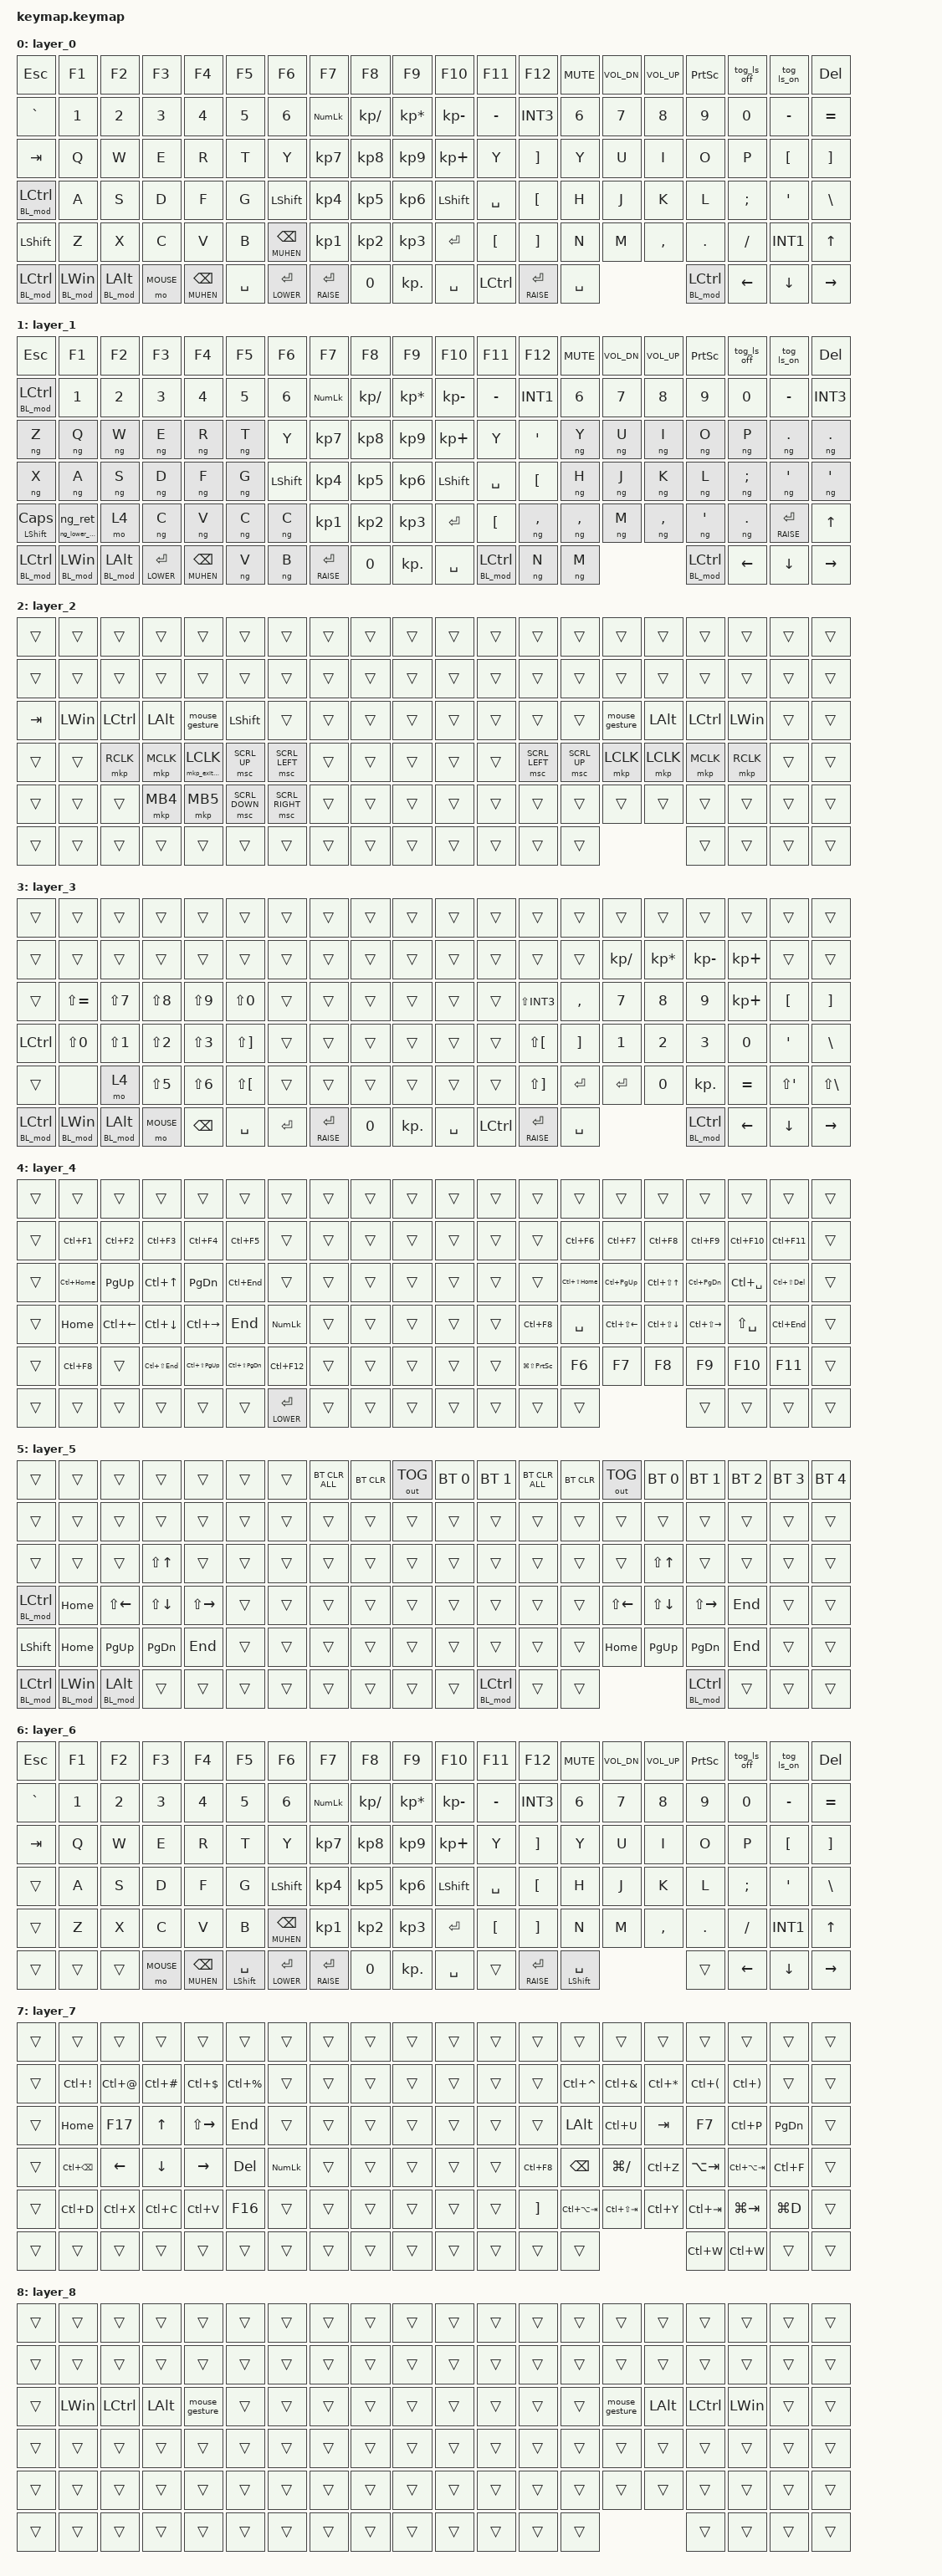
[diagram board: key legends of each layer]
//#include <dt-bindings/zmk/mouse.h>

//#include <behaviors/rgbled_widget.dtsi>
#include <behaviors.dtsi>
#include <dt-bindings/zmk/bt.h>
#include <dt-bindings/zmk/keys.h>
#include <dt-bindings/zmk/outputs.h>
#include <dt-bindings/zmk/pointing.h>
#include <behaviors/naginata.dtsi>

#include <input/processors.dtsi>
#include <dt-bindings/zmk/input_transform.h>

#include <mouse-gesture.dtsi>

#define BASE     0
#define NAGINATA 1
#define MOUSE    2
#define LOWER    3
#define RAISE    4
#define ADJUST   5
#define MOD      6
#define SCROLL   3
#define MUHEN   7
#define GESTURE  8



&zip_mouse_gesture {
    stroke-size = <130>;
    idle-timeout-ms = <70>;
    gesture-cooldown-ms = <60>;
    enable-eager-mode;
    suppress-movement;

    next {
        pattern = <GESTURE_RIGHT>;
        bindings = <&kp TAB>;
    };

    prev {
        pattern = <GESTURE_LEFT>;
        bindings = <&kp LS(TAB)>;
    };

    decide {
        pattern = <GESTURE_UP>;
        bindings = <&kp UP>;
    };

    cancel {
        pattern = <GESTURE_DOWN>;
        bindings = <&kp DOWN>;
    };
};


/ {
    conditional_layers {
        compatible = "zmk,conditional-layers";

        tri_layer {
            if-layers = <3 4>;
            then-layer = <5>;
        };
    };
};

#define COMBO2(name, p1, p2, out, layer) \
    name { \
        timeout-ms = <50>; \
        key-positions = <p1 p2>; \
        bindings = <out>; \
        layers = <layer>; \
    }

/ {
    behaviors {
        // スクロール用のbehaviorの設定
        scroll_down_up: behavior_sensor_rotate_mouse_wheel_down_up {
            compatible = "zmk,behavior-sensor-rotate";
            #sensor-binding-cells = <0>;
            bindings = <&msc SCRL_DOWN>, <&msc SCRL_UP>;
            tap-ms = <20>; // スクロールのタップ時間
        };

        // Customed Hold-Tap for SandS
        // 他キーとの同時押しのみHold(Shift), 500m以上長押しすると、Tap(Space)のリピート
        SandS: SandS {
            compatible = "zmk,behavior-hold-tap";
            #binding-cells = <2>;
            flavor = "tap-unless-interrupted";
            tapping-term-ms = <500>; // tap-unless-interruptedのため意味は無いが、設定しないとエラーはく
            quick-tap-ms = <500>;
            bindings = <&kp>, <&kp>;

            display-name = "SandS";
		};


        /*
         * 短押し：ng_ret（RET）
         * 長押し：ng_lower_hold
         */
        ng_lower: ng_lower {
            compatible = "zmk,behavior-hold-tap";
            #binding-cells = <2>;

            flavor = "hold-preferred";
            tapping-term-ms = <80>;

            /*
             * 1番目がHold、2番目がTap
             * この環境では1つの <> 内に並べる
             */
            bindings = <&ng_lower_hold &ng_ret>;
		};



	    //CAP_NGON_CTRL: cap_ng_on_ctrl {
	      //compatible = "zmk,behavior-hold-tap";
	      //#binding-cells = <0>;
	      //// お好みで調整
	      //tapping-term-ms = <200>;
	      //quick-tap-ms    = <125>;
	      //flavor = "balanced"; // "tap-preferred" / "hold-preferred" も可
	
	      //// bindings は <タップ時, ホールド時>
	      ////bindings = <&cap_ng_on &kp LCTRL>;
		//};

	    //CAP_NGOFF_CTRL: cap_ng_off_ctrl {
	      //compatible = "zmk,behavior-hold-tap";
	      //#binding-cells = <0>;
	      //// お好みで調整
	      //tapping-term-ms = <200>;
	      //quick-tap-ms    = <125>;
	      //flavor = "balanced"; // "tap-preferred" / "hold-preferred" も可
	
	      //// bindings は <タップ時, ホールド時>
	      ////bindings = <&cap_ng_off &kp LCTRL>;
        //};
    };
};

&sl { release-after-ms = <250>; }; // time needed for double click (for mkp_exit_AML)
/ {
    macros {
        // When in AML, move to default layer when key (except mouse button) pressed
        to_layer_0: to_layer_0 {
            compatible = "zmk,behavior-macro-one-param";
            #binding-cells = <1>;
            bindings = <&tog MOUSE &macro_param_1to1 &kp MACRO_PLACEHOLDER>;
            label = "TO_layer_0";
        };

        // When LCLK pressed, exit AML (after 250ms cause by sticky layer)
        mkp_exit_AML: mkp_exit_AML {
            compatible = "zmk,behavior-macro-one-param";
            #binding-cells = <1>;
            bindings =
                <&macro_press>,
                <&macro_param_1to1 &mkp MACRO_PLACEHOLDER>,
                <&macro_pause_for_release>,
                <&macro_release>,
                <&macro_param_1to1 &mkp MACRO_PLACEHOLDER>,
                <&macro_tap>,
                <&sl MOUSE>;

            label = "MKP_EXIT_AML";
        };

        // Support swapping into Scroll layer when AML is activated

        to_scroll_layer: to_scroll_layer {
            compatible = "zmk,behavior-macro";
            #binding-cells = <0>;
            bindings =
                <&to SCROLL>,
                <&macro_press>,
                <&mo SCROLL>,
                <&macro_pause_for_release>,
                <&macro_release>,
                <&mo SCROLL>;
        };



        /* ng_lowerの短押し側 */
        ng_ret: ng_ret {
            compatible = "zmk,behavior-macro";
            #binding-cells = <0>;
            wait-ms = <0>;
            tap-ms = <30>;

            bindings = <&macro_tap &kp RET>;
        };

        /* NAGINATA → LOWERの長押し側 */
        ng_lower_hold: ng_lower_hold {
            compatible = "zmk,behavior-macro";
            #binding-cells = <0>;
            wait-ms = <30>;
            tap-ms = <30>;

            bindings =
                <&macro_tap &kp LANG2>,
                <&macro_press &mo LOWER>,
                <&macro_pause_for_release>,
                <&macro_release &mo LOWER>,
                <&macro_tap &kp LANG1>;
        };


	    //cap_ng_on: cap_ng_on {
	      //compatible = "zmk,behavior-macro";
	      //#binding-cells = <0>;
	      //bindings = <&kp LANG1 &to NAGINATA>;
        //};

	    //cap_ng_off: cap_ng_off {
	      //compatible = "zmk,behavior-macro";
	      //#binding-cells = <0>;
	      //bindings = <&kp LANG2 &to BASE>;
        //};

        BL_mod: BL_mod {
            compatible = "zmk,behavior-macro-one-param";
            #binding-cells = <1>;
            bindings =
                <&macro_press>,
                <&mo MOD &macro_param_1to1>,
                <&macro_press>,
                <&kp MACRO_PLACEHOLDER>,
                <&macro_pause_for_release>,
                <&macro_param_1to1>,
                <&macro_release>,
                <&kp MACRO_PLACEHOLDER>,
                <&macro_release>,
                <&mo MOD>;
        };

        ng_on: ng_on {
            compatible = "zmk,behavior-macro";
            #binding-cells = <0>;
            bindings = <&macro_tap &kp LANG1 &to NAGINATA>;
            //bindings = <&macro_tap &kp CAPS &to NAGINATA>;
        };
    
        ng_off: ng_off {
            compatible = "zmk,behavior-macro";
            #binding-cells = <0>;
            bindings = <&macro_tap &kp LANG2 &to BASE>;
            //bindings = <&macro_tap &kp CAPS &to BASE>;
        };
    };

	combos {
		compatible = "zmk,combos";
		combo_ng_on {
			timeout-ms = <300>;
			key-positions = <74 96>;
			bindings = <&ng_on>;
			layers = <0 1>;
		};
	
		combo_ng_off {
			timeout-ms = <300>;
			key-positions = <82 64>; //62 64
			bindings = <&ng_off>;
			layers = <0 1>;
    	};

		//COMBO2(qz_to_a, 41, 61, &kp A, BASE);
		//COMBO2(wx_to_s, 42, 62, &kp S, BASE);
		//COMBO2(ec_to_d, 43, 63, &kp D, BASE);
		//COMBO2(rv_to_f, 44, 64, &kp F, BASE);
		//COMBO2(tb_to_g, 45, 65, &kp G, BASE);
		//COMBO2(lbkt_to_LBKT, 52, 72, &kp LBKT, BASE);
		//COMBO2(yn_to_h, 53, 73, &kp H, BASE);
		//COMBO2(tb_to_j, 54, 74, &kp J, BASE);
		//COMBO2(tb_to_k, 55, 75, &kp K, BASE);
		//COMBO2(tb_to_l, 56, 76, &kp L, BASE);
		//COMBO2(tb_to_semi, 57, 77, &kp SEMI, BASE);
		//COMBO2(tb_to_sqt, 58, 78, &kp SQT, BASE);
		//COMBO2(tb_to_BSLH, 59, 79, &kp BACKSLASH, BASE);
		COMBO2(ls_tos_lsMin, 41, 61, &kp LS(MINUS), LOWER);
		COMBO2(n4_tos_lsN4, 42, 62, &kp LS(N4), LOWER);
		COMBO2(n5_tos_lsN5, 43, 63, &kp LS(N5), LOWER);
		COMBO2(n6_tos_lsN6, 44, 64, &kp LS(N6), LOWER);
		COMBO2(nlbktn_tos_nlslbktn, 45, 65, &kp LS(LBKT), LOWER);
		COMBO2(lsrbkt_to_lsrbkt, 52, 72, &kp LS(RBKT), LOWER);
		COMBO2(nret_to_ret, 53, 73, &kp RET, LOWER);
		COMBO2(n71_to_4, 54, 74, &kp N4, LOWER);
		COMBO2(n82_to_5, 55,75, &kp N5, LOWER);
		COMBO2(n93_to_6, 56,76, &kp N6, LOWER);
		COMBO2(equa_to_equa, 57,77, &kp EQUAL, LOWER);
		COMBO2(ls_to_lssqt, 58, 78, &kp LS(SQT), LOWER);
		COMBO2(bslh_to_lsBSLH, 59, 79, &kp LS(BACKSLASH), LOWER);

//LS(N0)  &kp LS(N1) &kp LS(N2) &kp LS(N3)  &kp LS(RBKT)
//&kp LS(LBKT) &kp N0  &kp N1 &kp N2 &kp N3  &kp DOT &kp LS(SLASH) &trans


    };
};

//#include <layout_shift_kp_override.dtsi>
// Layout Shift Overlay - Replaces &kp behavior with custom implementation
// This file should be included in keyboard config to override &kp behavior

#include "layout_shift.dtsi"

/ {
    behaviors {
        // Keep the original key_press behavior for ZMK core components
        original_key_press: original_key_press {
            compatible = "zmk,behavior-key-press";
            #binding-cells = <1>;
            label = "KEY_PRESS";
        };

        // Override the existing &kp behavior to use our custom implementation
        kp: key_press {
            compatible = "zmk,behavior-layout-shift-key-press";
            #binding-cells = <1>;
            label = "LAYOUT_SHIFT_KEY_PRESS";
        };
    };
};





/ {
    keymap {
        compatible = "zmk,keymap";
//BASE
        layer_0 {
            bindings =<
                &kp ESC         &kp F1 &kp F2 &kp F3 &kp F4 &kp F5  &kp F6 &kp F7 &kp F8 &kp F9 &kp F10 &kp F11                                      &kp F12 &kp C_MUTE &kp C_VOL_DN &kp C_VOL_UP &kp PSCRN &tog_ls_off &tog_ls_on &kp DEL
				&kp GRAVE       &kp N1 &kp N2 &kp N3 &kp N4 &kp N5  &kp N6 &kp KP_NUM &kp KP_SLASH &kp KP_MULTIPLY &kp KP_MINUS &kp MINUS                         &kp INT3 &kp N6 &kp N7 &kp N8 &kp N9 &kp N0 &kp MINUS &kp EQUAL
				&kp TAB         &kp Q &kp W  &kp E  &kp R  &kp T    &kp Y &kp KP_N7 &kp KP_N8 &kp KP_N9 &kp KP_PLUS  &kp Y                                        &kp RBKT &kp Y &kp U &kp I &kp O &kp P &kp LBKT &kp RBKT
				&BL_mod LCTRL   &kp A &kp S  &kp D  &kp F &kp G     &kp LSHFT  &kp KP_N4 &kp KP_N5 &kp KP_N6 &kp LSHFT  &kp SPACE                                 &kp LBKT &kp H &kp J &kp K &kp L &kp SEMI  &kp SQT &kp BACKSLASH
				&kp LSHFT       &kp Z &kp X  &kp C  &kp V &kp B     &lt MUHEN BSPC &kp KP_N1 &kp KP_N2 &kp KP_N3  &kp RET &kp LBKT                                &kp RBKT &kp N &kp M &kp COMMA &kp DOT &kp FSLH &kp INT1 &kp UP
				&BL_mod LCTRL   &BL_mod LWIN &BL_mod LALT &mo MOUSE &lt MUHEN BSPC &kp SPACE &lt LOWER RET &lt RAISE RET &kp N0 &kp KP_DOT &kp SPACE &kp LCTRL               &lt RAISE RET &kp SPACE           &BL_mod LCTRL  &kp LEFT &kp DOWN &kp RIGHT
            >;
        };
//NAGINATA
        layer_1 {
            bindings =<
                &kp ESC         &kp F1 &kp F2 &kp F3 &kp F4 &kp F5  &kp F6 &kp F7 &kp F8 &kp F9 &kp F10 &kp F11                                      &kp F12 &kp C_MUTE &kp C_VOL_DN &kp C_VOL_UP &kp PSCRN &tog_ls_off &tog_ls_on &kp DEL
				&BL_mod LCTRL   &kp N1 &kp N2 &kp N3 &kp N4 &kp N5  &kp N6 &kp KP_NUM &kp KP_SLASH &kp KP_MULTIPLY &kp KP_MINUS &kp MINUS                                     &kp INT1 &kp N6 &kp N7 &kp N8 &kp N9 &kp N0 &kp MINUS &kp INT3
				&ng Z           &ng Q  &ng W  &ng E  &ng R &ng T    &kp Y &kp KP_N7 &kp KP_N8 &kp KP_N9 &kp KP_PLUS  &kp Y                                          &kp APOS &ng Y &ng U &ng I &ng O &ng P &ng DOT &ng DOT
				&ng X           &ng A  &ng S  &ng D  &ng F &ng G    &kp LSHFT  &kp KP_N4 &kp KP_N5 &kp KP_N6 &kp LSHFT  &kp SPACE                                         &kp LBKT &ng H &ng J &ng K &ng L &ng SEMI &ng SQT &ng SQT 
				&mt LSHFT CAPS  &ng_lower 0 0 &mo 4  &ng C  &ng V &ng C    &ng C   &kp KP_N1 &kp KP_N2 &kp KP_N3  &kp RET &kp LBKT                     &ng COMMA &ng COMMA &ng M &ng COMMA &ng SQT &ng DOT &lt RAISE RET &kp UP
				&BL_mod LCTRL   &BL_mod LWIN &BL_mod LALT &lt LOWER RET &lt MUHEN BSPC &ng V          &ng B &lt RAISE RET &kp N0 &kp KP_DOT &kp SPACE &BL_mod LCTRL   &ng N  &ng M           &BL_mod LCTRL  &kp LEFT &kp DOWN &kp RIGHT
            >;
        };
//Mouse
        layer_2 {
            bindings =<
                &trans &trans &trans &trans &trans &trans &trans &trans &trans &trans &trans &trans               &trans &trans &trans &trans &trans &trans &trans &trans
				&trans &trans &trans &trans &trans &trans &trans &trans &trans &trans &trans &trans               &trans &trans &trans &trans &trans &trans &trans &trans
				&kp TAB &kp LWIN &kp LCTRL &kp LALT &mouse_gesture &kp LSHFT &trans &trans &trans &trans &trans &trans   &trans &trans &mouse_gesture &kp LALT &kp LCTRL &kp LWIN &trans &trans
				&trans &trans &mkp RCLK &mkp MCLK &mkp_exit_AML LCLK &msc SCRL_UP    &msc SCRL_LEFT &trans &trans &trans &trans &trans      &msc SCRL_LEFT   &msc SCRL_UP    &mkp LCLK &mkp LCLK  &mkp MCLK       &mkp RCLK &trans &trans
				&trans &trans &trans &mkp MB4 &mkp MB5 &msc SCRL_DOWN  &msc SCRL_RIGHT &trans &trans &trans &trans &trans               &trans &trans &trans &trans &trans &trans &trans &trans
				&trans &trans &trans &trans &trans &trans &trans &trans &trans &trans &trans &trans               &trans &trans               &trans &trans &trans &trans
            >;
        };
//LOWER
        layer_3 {
            bindings =<
                &trans &trans &trans &trans &trans &trans &trans &trans &trans &trans &trans &trans               &trans &trans &trans &trans &trans &trans &trans &trans
				&trans &trans &trans &trans &trans &trans &trans &trans &trans &trans &trans &trans               &trans &trans &kp KP_SLASH &kp KP_MULTIPLY &kp KP_MINUS  &kp KP_PLUS &trans &trans
				&trans &kp LS(EQUAL)  &kp LS(N7) &kp LS(N8) &kp LS(N9)  &kp LS(N0) &trans &trans &trans &trans &trans &trans               &kp LS(INT3) &kp COMMA &kp N7 &kp N8 &kp N9  &kp KP_PLUS &kp LBKT &kp RBKT
				&kp LCTRL &kp LS(N0)  &kp LS(N1) &kp LS(N2) &kp LS(N3)  &kp LS(RBKT) &trans &trans &trans &trans &trans &trans               &kp LS(LBKT) &kp RBKT  &kp N1 &kp N2 &kp N3  &kp N0 &kp SQT &kp BACKSLASH
				&trans &none      &mo 4 &kp LS(N5) &kp LS(N6)  &kp LS(LBKT) &trans &trans &trans &trans &trans &trans               &kp LS(RBKT) &kp RET &kp RET  &kp N0 &kp KP_DOT &kp EQUAL &kp LS(SQT) &kp LS(BACKSLASH)
				&BL_mod LCTRL   &BL_mod LWIN &BL_mod LALT &mo MOUSE &kp BSPC &kp SPACE &kp RET &lt RAISE RET &kp N0 &kp KP_DOT &kp SPACE &kp LCTRL               &lt RAISE RET &kp SPACE           &BL_mod LCTRL  &kp LEFT &kp DOWN &kp RIGHT
            >;
        };
//RAISE
        layer_4 {
            bindings =<
                &trans &trans &trans &trans &trans &trans &trans &trans &trans &trans &trans &trans               &trans &trans &trans &trans &trans &trans &trans &trans
				&trans &kp LC(F1)   &kp LC(F2)   &kp LC(F3)   &kp LC(F4)     &kp LC(F5) &trans &trans &trans &trans &trans &trans               &trans &kp LC(F6)       &kp LC(F7)       &kp LC(F8)       &kp LC(F9)        &kp LC(F10)   &kp LC(F11)     &trans
				&trans &kp LC(HOME) &kp PG_UP    &kp LC(UP)   &kp PG_DN      &kp LC(END) &trans &trans &trans &trans &trans &trans               &trans &kp LC(LS(HOME)) &kp LC(PG_UP)    &kp LC(LS(UP))   &kp LC(PG_DN)     &kp LC(SPACE) &kp LC(LS(DEL))  &trans 
				&trans &kp HOME     &kp LC(LEFT) &kp LC(DOWN) &kp LC(RIGHT)  &kp END &kp KP_NUM  &trans &trans &trans &trans &trans              &kp LC(F8)        &kp SPACE        &kp LC(LS(LEFT)) &kp LC(LS(DOWN)) &kp LC(LS(RIGHT)) &kp LS(SPACE) &kp LC(END)    &trans
				&trans &kp LC(F8) &trans &kp LC(LS(END)) &kp LC(LS(PG_UP)) &kp LC(LS(PG_DN)) &kp LC(F12) &trans &trans &trans &trans &trans             &kp LG(LS(PSCRN)) &kp F6           &kp F7           &kp F8           &kp F9            &kp F10       &kp F11   &trans
				&trans &trans &trans &trans &trans &trans &lt LOWER RET &trans &trans &trans &trans &trans               &trans &trans               &trans &trans &trans &trans
            >;
        };
//ADJUST
        layer_5 {
            bindings =<
                &trans &trans &trans &trans &trans &trans &trans &bt BT_CLR_ALL &bt BT_CLR &out OUT_TOG &bt BT_SEL 0 &bt BT_SEL 1              &bt BT_CLR_ALL &bt BT_CLR &out OUT_TOG &bt BT_SEL 0 &bt BT_SEL 1 &bt BT_SEL 2 &bt BT_SEL 3 &bt BT_SEL 4
				&trans &trans &trans &trans &trans &trans &trans &trans &trans &trans &trans &trans               &trans &trans &trans &trans &trans &trans &trans &trans
				&trans &trans &trans &kp LS(UP) &trans &trans &trans &trans &trans &trans &trans &trans               &trans &trans &trans &kp LS(UP) &trans &trans &trans &trans
				&BL_mod LCTRL &kp HOME &kp LS(LEFT) &kp LS(DOWN) &kp LS(RIGHT) &trans &trans &trans &trans &trans &trans &trans               &trans &trans &kp LS(LEFT) &kp LS(DOWN) &kp LS(RIGHT) &kp END &trans &trans
				&kp LSHFT &kp HOME &kp PG_UP &kp PG_DN &kp END &trans &trans &trans &trans &trans &trans &trans               &trans &trans &kp HOME &kp PG_UP &kp PG_DN &kp END &trans &trans
				&BL_mod LCTRL &BL_mod LWIN &BL_mod LALT &trans &trans &trans &trans &trans &trans &trans &trans &BL_mod LCTRL               &trans &trans               &BL_mod LCTRL &trans &trans &trans
            >;
        };
//MOD
        layer_6 {
            bindings =<
                &kp ESC   &kp F1 &kp F2 &kp F3 &kp F4 &kp F5  &kp F6 &kp F7 &kp F8 &kp F9 &kp F10 &kp F11                                      &kp F12 &kp C_MUTE &kp C_VOL_DN &kp C_VOL_UP &kp PSCRN &tog_ls_off &tog_ls_on &kp DEL
				&kp GRAVE &kp N1 &kp N2 &kp N3 &kp N4 &kp N5  &kp N6 &kp KP_NUM &kp KP_SLASH &kp KP_MULTIPLY &kp KP_MINUS &kp MINUS                         &kp INT3 &kp N6 &kp N7 &kp N8 &kp N9 &kp N0 &kp MINUS &kp EQUAL
				&kp TAB   &kp Q &kp W  &kp E  &kp R  &kp T    &kp Y &kp KP_N7 &kp KP_N8 &kp KP_N9 &kp KP_PLUS  &kp Y                                        &kp RBKT &kp Y &kp U &kp I &kp O &kp P &kp LBKT &kp RBKT
				&trans    &kp A  &kp S  &kp D  &kp F &kp G     &kp LSHFT  &kp KP_N4 &kp KP_N5 &kp KP_N6 &kp LSHFT  &kp SPACE                                &kp LBKT &kp H &kp J &kp K &kp L &kp SEMI &kp SQT &kp BACKSLASH
				&trans    &kp Z  &kp X  &kp C  &kp V &kp B     &lt MUHEN BSPC &kp KP_N1 &kp KP_N2 &kp KP_N3  &kp RET &kp LBKT                    &kp RBKT &kp N &kp M &kp COMMA &kp DOT &kp FSLH  &kp INT1 &kp UP
				&trans    &trans &trans &mo MOUSE &lt MUHEN BSPC &SandS LSHFT SPACE &lt LOWER RET &lt RAISE RET &kp N0 &kp KP_DOT &kp SPACE &trans               &lt RAISE RET &SandS LSHFT SPACE           &trans  &kp LEFT &kp DOWN &kp RIGHT
            >;
        };
//MUHEN
        layer_7 {
            bindings =<
                &trans &trans &trans &trans &trans &trans &trans &trans &trans &trans &trans &trans               &trans &trans &trans &trans &trans &trans &trans &trans
				&trans &kp LC(EXCL) &kp LC(AT) &kp LC(HASH)    &kp LC(DLLR)       &kp LC(PRCNT) &trans &trans &trans &trans &trans &trans           &trans &kp LC(CARET)  &kp LC(AMPS)   &kp LC(ASTRK) &kp LC(LPAR) &kp LC(RPAR) &trans &trans
				&trans &kp HOME       &kp F17        &kp UP        &kp LS(RIGHT)   &kp END  &trans &trans &trans &trans &trans &trans               &trans &kp LALT       &kp LC(U)        &kp TAB        &kp F7         &kp LC(P)       &kp PG_DN &trans
				&trans &kp LC(BSPC)   &kp LEFT       &kp DOWN      &kp RIGHT       &kp DEL &kp KP_NUM &trans &trans &trans &trans &trans            &kp LC(F8) &kp BSPC       &kp LG(SLASH)    &kp LC(Z)      &kp LA(TAB)    &kp LC(LA(TAB))   &kp LC(F) &trans
				&trans &kp LC(D)      &kp LC(X)      &kp  LC(C)    &kp LC(V)       &kp F16 &trans &trans &trans &trans &trans &trans               &kp RBKT  &kp LC(LA(TAB)) &kp LC(LS(TAB))  &kp LC(Y)      &kp LC(TAB)    &kp LG(TAB)     &kp LG(D) &trans
				&trans &trans &trans &trans &trans &trans &trans &trans &trans &trans &trans &trans               &trans &trans               &kp LC(W) &kp LC(W) &trans &trans
            >;
        };
//GESTURE not use now
        layer_8 {
            bindings =<
                &trans &trans &trans &trans &trans &trans &trans &trans &trans &trans &trans &trans               &trans &trans &trans &trans &trans &trans &trans &trans
				&trans &trans &trans &trans &trans &trans &trans &trans &trans &trans &trans &trans               &trans &trans &trans &trans &trans &trans &trans &trans
				&trans &kp LWIN &kp LCTRL &kp LALT &mouse_gesture &trans &trans &trans &trans &trans &trans &trans               &trans &trans &mouse_gesture &kp LALT &kp LCTRL &kp LWIN &trans &trans
				&trans &trans &trans &trans &trans &trans &trans &trans &trans &trans &trans &trans               &trans &trans &trans &trans &trans &trans &trans &trans
				&trans &trans &trans &trans &trans &trans &trans &trans &trans &trans &trans &trans               &trans &trans &trans &trans &trans &trans &trans &trans
				&trans &trans &trans &trans &trans &trans &trans &trans &trans &trans &trans &trans               &trans &trans               &trans &trans &trans &trans
            >;
        };
    };
};
